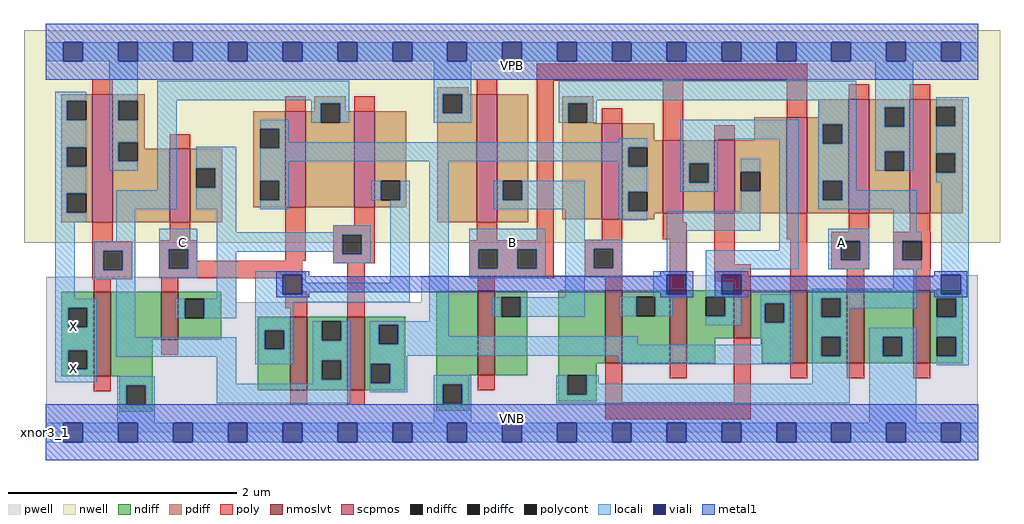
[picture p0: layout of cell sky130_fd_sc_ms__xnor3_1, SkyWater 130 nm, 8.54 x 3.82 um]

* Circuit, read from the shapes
.subckt sky130_fd_sc_ms__xnor3_1 A B C VGND VNB VPB VPWR X
XM1 VGND n1 X VNB sky130_fd_pr__nfet_01v8_lvt w=0.74 l=0.15
XM2 n2 C VGND VNB sky130_fd_pr__nfet_01v8_lvt w=0.42 l=0.15
XM3 n1 C n3 VNB sky130_fd_pr__nfet_01v8_lvt w=0.64 l=0.15
XM4 n4 n2 n1 VNB sky130_fd_pr__nfet_01v8_lvt w=0.64 l=0.15
XM5 n5 B VGND VNB sky130_fd_pr__nfet_01v8_lvt w=0.74 l=0.15
XM6 n3 n5 n6 VNB sky130_fd_pr__nfet_01v8_lvt w=0.64 l=0.15
XM7 n7 B n3 VNB sky130_fd_pr__nfet_01v8_lvt w=0.64 l=0.15
XM8 n4 n5 n7 VNB sky130_fd_pr__nfet_01v8_lvt w=0.42 l=0.15
XM9 n6 B n4 VNB sky130_fd_pr__nfet_01v8_lvt w=0.64 l=0.15
XM10 VGND A n6 VNB sky130_fd_pr__nfet_01v8_lvt w=0.64 l=0.15
XM11 n7 n6 VGND VNB sky130_fd_pr__nfet_01v8_lvt w=0.64 l=0.15
XM12 VPWR n1 X VPB sky130_fd_pr__pfet_01v8 w=1.12 l=0.18
XM13 n2 C VPWR VPB sky130_fd_pr__pfet_01v8 w=0.64 l=0.18
XM14 n1 C n4 VPB sky130_fd_pr__pfet_01v8 w=0.84 l=0.18
XM15 n3 n2 n1 VPB sky130_fd_pr__pfet_01v8 w=0.84 l=0.18
XM16 n5 B VPWR VPB sky130_fd_pr__pfet_01v8 w=1.12 l=0.18
XM17 n4 n5 n6 VPB sky130_fd_pr__pfet_01v8 w=0.84 l=0.18
XM18 n7 B n4 VPB sky130_fd_pr__pfet_01v8 w=0.64 l=0.18
XM19 n3 n5 n7 VPB sky130_fd_pr__pfet_01v8 w=0.64 l=0.18
XM20 n6 B n3 VPB sky130_fd_pr__pfet_01v8 w=0.84 l=0.18
XM21 VPWR A n6 VPB sky130_fd_pr__pfet_01v8 w=1 l=0.18
XM22 n7 n6 VPWR VPB sky130_fd_pr__pfet_01v8 w=1 l=0.18
.ends

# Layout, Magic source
magic
tech sky130A
magscale 1 2
<< nwell >>
rect -38 332 1670 704
<< pwell >>
rect 871 274 1631 275
rect 1 228 333 272
rect 657 228 1631 274
rect 1 49 1631 228
rect 0 0 1632 49
<< scpmos >>
rect 81 368 117 592
rect 217 368 253 496
rect 419 394 455 562
rect 540 394 576 562
rect 754 368 790 592
rect 973 373 1009 541
rect 1080 383 1116 511
rect 1170 383 1206 511
rect 1297 383 1333 551
rect 1405 383 1441 583
rect 1512 383 1548 583
<< nmoslvt >>
rect 84 98 114 246
rect 202 162 232 246
rect 428 74 458 202
rect 528 74 558 202
rect 756 100 786 248
rect 979 121 1009 249
rect 1092 121 1122 249
rect 1204 165 1234 249
rect 1303 121 1333 249
rect 1402 121 1432 249
rect 1518 121 1548 249
<< ndiff >>
rect 27 218 84 246
rect 27 184 39 218
rect 73 184 84 218
rect 27 144 84 184
rect 27 110 39 144
rect 73 110 84 144
rect 27 98 84 110
rect 114 162 202 246
rect 232 234 307 246
rect 232 200 243 234
rect 277 200 307 234
rect 232 162 307 200
rect 371 179 428 202
rect 114 98 187 162
rect 371 145 383 179
rect 417 145 428 179
rect 129 82 187 98
rect 129 48 141 82
rect 175 48 187 82
rect 371 74 428 145
rect 458 194 528 202
rect 458 160 483 194
rect 517 160 528 194
rect 458 126 528 160
rect 458 92 483 126
rect 517 92 528 126
rect 458 74 528 92
rect 558 188 629 202
rect 558 154 583 188
rect 617 154 629 188
rect 558 120 629 154
rect 558 86 569 120
rect 603 86 629 120
rect 558 74 629 86
rect 683 100 756 248
rect 786 236 843 248
rect 786 202 797 236
rect 831 202 843 236
rect 786 100 843 202
rect 897 121 979 249
rect 1009 237 1092 249
rect 1009 203 1033 237
rect 1067 203 1092 237
rect 1009 121 1092 203
rect 1122 237 1204 249
rect 1122 203 1155 237
rect 1189 203 1204 237
rect 1122 165 1204 203
rect 1234 226 1303 249
rect 1234 192 1258 226
rect 1292 192 1303 226
rect 1234 165 1303 192
rect 1122 121 1172 165
rect 897 100 964 121
rect 683 84 741 100
rect 683 50 695 84
rect 729 50 741 84
rect 897 66 913 100
rect 947 66 964 100
rect 897 54 964 66
rect 129 36 187 48
rect 683 38 741 50
rect 1253 121 1303 165
rect 1333 235 1402 249
rect 1333 201 1357 235
rect 1391 201 1402 235
rect 1333 167 1402 201
rect 1333 133 1357 167
rect 1391 133 1402 167
rect 1333 121 1402 133
rect 1432 167 1518 249
rect 1432 133 1465 167
rect 1499 133 1518 167
rect 1432 121 1518 133
rect 1548 235 1605 249
rect 1548 201 1559 235
rect 1593 201 1605 235
rect 1548 167 1605 201
rect 1548 133 1559 167
rect 1593 133 1605 167
rect 1548 121 1605 133
<< pdiff >>
rect 685 592 739 604
rect 27 580 81 592
rect 27 546 37 580
rect 71 546 81 580
rect 27 499 81 546
rect 27 465 37 499
rect 71 465 81 499
rect 27 418 81 465
rect 27 384 37 418
rect 71 384 81 418
rect 27 368 81 384
rect 117 580 173 592
rect 117 546 127 580
rect 161 546 173 580
rect 470 576 525 588
rect 470 562 481 576
rect 117 508 173 546
rect 363 531 419 562
rect 117 474 127 508
rect 161 496 173 508
rect 363 497 375 531
rect 409 497 419 531
rect 161 474 217 496
rect 117 368 217 474
rect 253 462 309 496
rect 253 428 263 462
rect 297 428 309 462
rect 253 368 309 428
rect 363 440 419 497
rect 363 406 375 440
rect 409 406 419 440
rect 363 394 419 406
rect 455 542 481 562
rect 515 562 525 576
rect 515 542 540 562
rect 455 394 540 542
rect 576 440 631 562
rect 576 406 586 440
rect 620 406 631 440
rect 576 394 631 406
rect 685 558 695 592
rect 729 558 754 592
rect 685 368 754 558
rect 790 440 844 592
rect 790 406 800 440
rect 834 406 844 440
rect 790 368 844 406
rect 904 576 958 588
rect 904 542 914 576
rect 948 542 958 576
rect 904 541 958 542
rect 904 373 973 541
rect 1009 511 1065 541
rect 1353 551 1405 583
rect 1240 511 1297 551
rect 1009 499 1080 511
rect 1009 465 1019 499
rect 1053 465 1080 499
rect 1009 421 1080 465
rect 1009 387 1019 421
rect 1053 387 1080 421
rect 1009 383 1080 387
rect 1116 471 1170 511
rect 1116 437 1126 471
rect 1160 437 1170 471
rect 1116 383 1170 437
rect 1206 456 1297 511
rect 1206 422 1216 456
rect 1250 422 1297 456
rect 1206 383 1297 422
rect 1333 539 1405 551
rect 1333 505 1360 539
rect 1394 505 1405 539
rect 1333 440 1405 505
rect 1333 406 1360 440
rect 1394 406 1405 440
rect 1333 383 1405 406
rect 1441 569 1512 583
rect 1441 535 1468 569
rect 1502 535 1512 569
rect 1441 492 1512 535
rect 1441 458 1468 492
rect 1502 458 1512 492
rect 1441 383 1512 458
rect 1548 570 1605 583
rect 1548 536 1558 570
rect 1592 536 1605 570
rect 1548 488 1605 536
rect 1548 454 1558 488
rect 1592 454 1605 488
rect 1548 383 1605 454
rect 1009 373 1065 383
<< ndiffc >>
rect 39 184 73 218
rect 39 110 73 144
rect 243 200 277 234
rect 383 145 417 179
rect 141 48 175 82
rect 483 160 517 194
rect 483 92 517 126
rect 583 154 617 188
rect 569 86 603 120
rect 797 202 831 236
rect 1033 203 1067 237
rect 1155 203 1189 237
rect 1258 192 1292 226
rect 695 50 729 84
rect 913 66 947 100
rect 1357 201 1391 235
rect 1357 133 1391 167
rect 1465 133 1499 167
rect 1559 201 1593 235
rect 1559 133 1593 167
<< pdiffc >>
rect 37 546 71 580
rect 37 465 71 499
rect 37 384 71 418
rect 127 546 161 580
rect 127 474 161 508
rect 375 497 409 531
rect 263 428 297 462
rect 375 406 409 440
rect 481 542 515 576
rect 586 406 620 440
rect 695 558 729 592
rect 800 406 834 440
rect 914 542 948 576
rect 1019 465 1053 499
rect 1019 387 1053 421
rect 1126 437 1160 471
rect 1216 422 1250 456
rect 1360 505 1394 539
rect 1360 406 1394 440
rect 1468 535 1502 569
rect 1468 458 1502 492
rect 1558 536 1592 570
rect 1558 454 1592 488
<< poly >>
rect 81 592 117 618
rect 754 592 790 618
rect 859 615 1333 645
rect 419 562 455 588
rect 217 496 253 522
rect 540 562 576 588
rect 81 334 117 368
rect 217 336 253 368
rect 81 318 151 334
rect 81 284 101 318
rect 135 284 151 318
rect 81 268 151 284
rect 199 320 265 336
rect 199 286 215 320
rect 249 300 265 320
rect 419 300 455 394
rect 540 362 576 394
rect 503 346 576 362
rect 503 312 519 346
rect 553 312 576 346
rect 754 336 790 368
rect 859 336 889 615
rect 973 541 1009 567
rect 1080 511 1116 615
rect 1297 551 1333 615
rect 1405 583 1441 609
rect 1512 583 1548 609
rect 1170 511 1206 537
rect 973 337 1009 373
rect 1080 368 1116 383
rect 1080 338 1122 368
rect 249 286 449 300
rect 503 296 576 312
rect 741 320 889 336
rect 199 270 449 286
rect 84 246 114 268
rect 202 246 232 270
rect 419 247 449 270
rect 419 217 458 247
rect 428 202 458 217
rect 528 202 558 296
rect 741 286 757 320
rect 791 286 825 320
rect 859 286 889 320
rect 741 270 889 286
rect 943 321 1009 337
rect 943 287 959 321
rect 993 287 1009 321
rect 943 271 1009 287
rect 756 248 786 270
rect 979 249 1009 271
rect 1092 249 1122 338
rect 1170 294 1206 383
rect 1297 338 1333 383
rect 1405 351 1441 383
rect 1512 351 1548 383
rect 1170 264 1234 294
rect 1204 249 1234 264
rect 1303 249 1333 338
rect 1375 335 1441 351
rect 1375 301 1391 335
rect 1425 301 1441 335
rect 1375 285 1441 301
rect 1483 335 1549 351
rect 1483 301 1499 335
rect 1533 301 1549 335
rect 1483 285 1549 301
rect 1402 249 1432 285
rect 1518 249 1548 285
rect 202 136 232 162
rect 84 72 114 98
rect 428 48 458 74
rect 528 48 558 74
rect 756 74 786 100
rect 979 53 1009 121
rect 1092 95 1122 121
rect 1204 53 1234 165
rect 1303 95 1333 121
rect 1402 95 1432 121
rect 1518 95 1548 121
rect 979 23 1234 53
<< polycont >>
rect 101 284 135 318
rect 215 286 249 320
rect 519 312 553 346
rect 757 286 791 320
rect 825 286 859 320
rect 959 287 993 321
rect 1391 301 1425 335
rect 1499 301 1533 335
<< locali >>
rect 0 649 31 683
rect 65 649 127 683
rect 161 649 223 683
rect 257 649 319 683
rect 353 649 415 683
rect 449 649 511 683
rect 545 649 607 683
rect 641 649 703 683
rect 737 649 799 683
rect 833 649 895 683
rect 929 649 991 683
rect 1025 649 1087 683
rect 1121 649 1183 683
rect 1217 649 1279 683
rect 1313 649 1375 683
rect 1409 649 1471 683
rect 1505 649 1567 683
rect 1601 649 1632 683
rect 17 580 71 596
rect 17 546 37 580
rect 17 499 71 546
rect 17 465 37 499
rect 17 418 71 465
rect 111 580 161 649
rect 111 546 127 580
rect 111 508 161 546
rect 111 474 127 508
rect 111 458 161 474
rect 195 581 531 615
rect 195 424 229 581
rect 465 576 531 581
rect 375 531 425 547
rect 465 542 481 576
rect 515 542 531 576
rect 679 592 745 649
rect 679 558 695 592
rect 729 558 745 592
rect 679 542 745 558
rect 898 581 1418 615
rect 898 576 964 581
rect 898 542 914 576
rect 948 542 964 576
rect 17 384 37 418
rect 17 368 71 384
rect 123 390 229 424
rect 263 462 333 500
rect 297 428 333 462
rect 263 390 333 428
rect 409 508 425 531
rect 1003 508 1053 515
rect 409 499 1053 508
rect 409 497 1019 499
rect 375 474 1019 497
rect 375 440 425 474
rect 409 406 425 440
rect 570 406 586 440
rect 620 406 637 440
rect 375 390 425 406
rect 17 234 51 368
rect 123 334 157 390
rect 85 318 157 334
rect 85 284 101 318
rect 135 284 157 318
rect 85 268 157 284
rect 199 320 265 356
rect 199 286 215 320
rect 249 286 265 320
rect 199 270 265 286
rect 299 350 333 390
rect 503 350 569 362
rect 299 346 569 350
rect 299 316 519 346
rect 17 218 89 234
rect 17 184 39 218
rect 73 184 89 218
rect 17 144 89 184
rect 17 110 39 144
rect 73 110 89 144
rect 123 166 157 268
rect 299 234 333 316
rect 503 312 519 316
rect 553 312 569 346
rect 503 296 569 312
rect 227 200 243 234
rect 277 200 333 234
rect 367 276 455 282
rect 367 242 415 276
rect 449 262 455 276
rect 603 262 637 406
rect 449 242 637 262
rect 367 228 637 242
rect 367 179 433 228
rect 671 194 705 474
rect 1003 465 1019 474
rect 784 406 800 440
rect 834 406 943 440
rect 784 390 943 406
rect 741 320 875 356
rect 741 286 757 320
rect 791 286 825 320
rect 859 286 875 320
rect 741 270 875 286
rect 909 337 943 390
rect 1003 421 1053 465
rect 1110 513 1318 547
rect 1110 471 1176 513
rect 1110 437 1126 471
rect 1160 437 1176 471
rect 1110 421 1176 437
rect 1216 456 1250 479
rect 1003 387 1019 421
rect 1216 387 1250 422
rect 1003 371 1053 387
rect 1087 353 1250 387
rect 909 321 1009 337
rect 909 287 959 321
rect 993 287 1009 321
rect 909 271 1009 287
rect 1087 282 1121 353
rect 1284 319 1318 513
rect 1352 539 1418 581
rect 1352 505 1360 539
rect 1394 505 1418 539
rect 1352 440 1418 505
rect 1452 569 1518 649
rect 1452 535 1468 569
rect 1502 535 1518 569
rect 1452 492 1518 535
rect 1452 458 1468 492
rect 1502 458 1518 492
rect 1558 570 1615 586
rect 1592 536 1615 570
rect 1558 488 1615 536
rect 1352 406 1360 440
rect 1394 424 1418 440
rect 1592 454 1615 488
rect 1558 438 1615 454
rect 1394 406 1524 424
rect 1352 390 1524 406
rect 1063 276 1121 282
rect 909 236 943 271
rect 1063 242 1087 276
rect 1063 237 1121 242
rect 781 202 797 236
rect 831 202 943 236
rect 1004 203 1033 237
rect 1067 236 1121 237
rect 1155 285 1318 319
rect 1369 335 1441 356
rect 1369 301 1391 335
rect 1425 301 1441 335
rect 1369 285 1441 301
rect 1483 351 1524 390
rect 1483 335 1533 351
rect 1483 301 1499 335
rect 1483 285 1533 301
rect 1155 276 1217 285
rect 1155 242 1183 276
rect 1483 251 1524 285
rect 1567 276 1615 438
rect 1155 237 1217 242
rect 1067 203 1097 236
rect 1189 203 1217 237
rect 123 132 333 166
rect 17 88 89 110
rect 125 82 191 98
rect 125 48 141 82
rect 175 48 191 82
rect 299 85 333 132
rect 367 145 383 179
rect 417 145 433 179
rect 367 119 433 145
rect 467 160 483 194
rect 517 160 533 194
rect 467 126 533 160
rect 467 92 483 126
rect 517 92 533 126
rect 467 85 533 92
rect 299 51 533 85
rect 567 188 705 194
rect 567 154 583 188
rect 617 168 705 188
rect 1155 187 1217 203
rect 1251 226 1307 242
rect 1251 192 1258 226
rect 1292 192 1307 226
rect 617 154 1036 168
rect 567 153 1036 154
rect 1251 153 1307 192
rect 567 134 1307 153
rect 567 120 633 134
rect 567 86 569 120
rect 603 86 633 120
rect 1002 119 1307 134
rect 1341 235 1524 251
rect 1341 201 1357 235
rect 1391 217 1524 235
rect 1559 242 1567 251
rect 1601 242 1615 276
rect 1559 235 1615 242
rect 1391 201 1407 217
rect 1341 167 1407 201
rect 1593 201 1615 235
rect 1341 133 1357 167
rect 1391 133 1407 167
rect 567 70 633 86
rect 679 84 745 100
rect 125 17 191 48
rect 679 50 695 84
rect 729 50 745 84
rect 893 66 913 100
rect 947 85 968 100
rect 1341 85 1407 133
rect 947 66 1407 85
rect 893 51 1407 66
rect 1441 167 1523 183
rect 1441 133 1465 167
rect 1499 133 1523 167
rect 679 17 745 50
rect 1441 17 1523 133
rect 1559 167 1615 201
rect 1593 133 1615 167
rect 1559 117 1615 133
rect 0 -17 31 17
rect 65 -17 127 17
rect 161 -17 223 17
rect 257 -17 319 17
rect 353 -17 415 17
rect 449 -17 511 17
rect 545 -17 607 17
rect 641 -17 703 17
rect 737 -17 799 17
rect 833 -17 895 17
rect 929 -17 991 17
rect 1025 -17 1087 17
rect 1121 -17 1183 17
rect 1217 -17 1279 17
rect 1313 -17 1375 17
rect 1409 -17 1471 17
rect 1505 -17 1567 17
rect 1601 -17 1632 17
<< viali >>
rect 31 649 65 683
rect 127 649 161 683
rect 223 649 257 683
rect 319 649 353 683
rect 415 649 449 683
rect 511 649 545 683
rect 607 649 641 683
rect 703 649 737 683
rect 799 649 833 683
rect 895 649 929 683
rect 991 649 1025 683
rect 1087 649 1121 683
rect 1183 649 1217 683
rect 1279 649 1313 683
rect 1375 649 1409 683
rect 1471 649 1505 683
rect 1567 649 1601 683
rect 415 242 449 276
rect 1087 242 1121 276
rect 1183 242 1217 276
rect 1567 242 1601 276
rect 31 -17 65 17
rect 127 -17 161 17
rect 223 -17 257 17
rect 319 -17 353 17
rect 415 -17 449 17
rect 511 -17 545 17
rect 607 -17 641 17
rect 703 -17 737 17
rect 799 -17 833 17
rect 895 -17 929 17
rect 991 -17 1025 17
rect 1087 -17 1121 17
rect 1183 -17 1217 17
rect 1279 -17 1313 17
rect 1375 -17 1409 17
rect 1471 -17 1505 17
rect 1567 -17 1601 17
<< metal1 >>
rect 0 683 1632 715
rect 0 649 31 683
rect 65 649 127 683
rect 161 649 223 683
rect 257 649 319 683
rect 353 649 415 683
rect 449 649 511 683
rect 545 649 607 683
rect 641 649 703 683
rect 737 649 799 683
rect 833 649 895 683
rect 929 649 991 683
rect 1025 649 1087 683
rect 1121 649 1183 683
rect 1217 649 1279 683
rect 1313 649 1375 683
rect 1409 649 1471 683
rect 1505 649 1567 683
rect 1601 649 1632 683
rect 0 617 1632 649
rect 403 276 461 282
rect 403 242 415 276
rect 449 273 461 276
rect 1075 276 1133 282
rect 1075 273 1087 276
rect 449 245 1087 273
rect 449 242 461 245
rect 403 236 461 242
rect 1075 242 1087 245
rect 1121 242 1133 276
rect 1075 236 1133 242
rect 1171 276 1229 282
rect 1171 242 1183 276
rect 1217 273 1229 276
rect 1555 276 1613 282
rect 1555 273 1567 276
rect 1217 245 1567 273
rect 1217 242 1229 245
rect 1171 236 1229 242
rect 1555 242 1567 245
rect 1601 242 1613 276
rect 1555 236 1613 242
rect 0 17 1632 49
rect 0 -17 31 17
rect 65 -17 127 17
rect 161 -17 223 17
rect 257 -17 319 17
rect 353 -17 415 17
rect 449 -17 511 17
rect 545 -17 607 17
rect 641 -17 703 17
rect 737 -17 799 17
rect 833 -17 895 17
rect 929 -17 991 17
rect 1025 -17 1087 17
rect 1121 -17 1183 17
rect 1217 -17 1279 17
rect 1313 -17 1375 17
rect 1409 -17 1471 17
rect 1505 -17 1567 17
rect 1601 -17 1632 17
rect 0 -49 1632 -17
<< labels >>
flabel pwell s 0 0 1632 49 0 FreeSans 200 0 0 0 VNB
port 5 nsew ground bidirectional
flabel nwell s 0 617 1632 666 0 FreeSans 200 0 0 0 VPB
port 6 nsew power bidirectional
rlabel comment s 0 0 0 0 4 xnor3_1
flabel metal1 s 0 617 1632 666 0 FreeSans 340 0 0 0 VPWR
port 7 nsew power bidirectional
flabel metal1 s 0 0 1632 49 0 FreeSans 340 0 0 0 VGND
port 4 nsew ground bidirectional
flabel locali s 31 94 65 128 0 FreeSans 340 0 0 0 X
port 8 nsew signal output
flabel locali s 31 168 65 202 0 FreeSans 340 0 0 0 X
port 8 nsew signal output
flabel locali s 799 316 833 350 0 FreeSans 340 0 0 0 B
port 2 nsew signal input
flabel locali s 223 316 257 350 0 FreeSans 340 0 0 0 C
port 3 nsew signal input
flabel locali s 1375 316 1409 350 0 FreeSans 340 0 0 0 A
port 1 nsew signal input
<< properties >>
string LEFsite unit
string LEFclass CORE
string FIXED_BBOX 0 0 1632 666
string GDS_FILE $PDKPATH/libs.ref/sky130_fd_sc_ms/gds/sky130_fd_sc_ms.gds
string LEFsymmetry X Y
string GDS_END 712606
string GDS_START 700458
<< end >>
